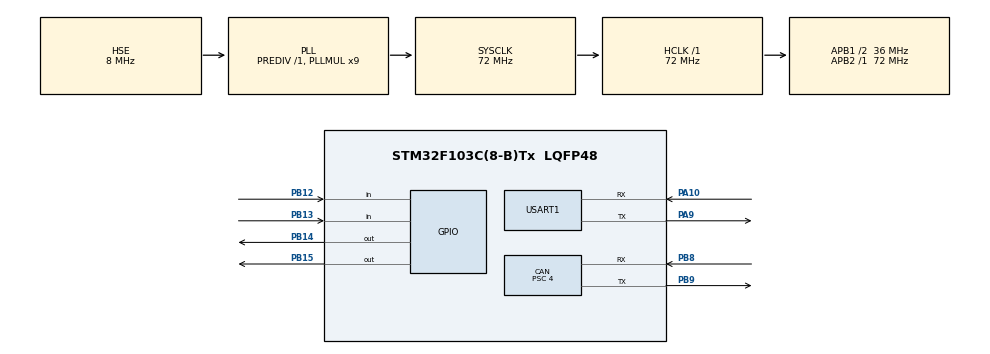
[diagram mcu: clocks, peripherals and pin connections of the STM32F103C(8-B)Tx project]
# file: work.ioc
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CAN.BS1=CAN_BS1_15TQ
CAN.BS2=CAN_BS2_2TQ
CAN.CalculateBaudRate=500000
CAN.CalculateTimeBit=2000
CAN.CalculateTimeQuantum=111.11111111111111
CAN.Prescaler=4
CAN.SJW=CAN_SJW_1TQ
Mcu.Family=STM32F1
Mcu.Name=STM32F103C(8-B)Tx
Mcu.Package=LQFP48
NVIC.PriorityGroup=NVIC_PRIORITYGROUP_4
NVIC.USART1_IRQn=true\:0\:0\:false\:false\:true\:true\:true\:true
NVIC.USB_LP_CAN1_RX0_IRQn=true\:0\:0\:false\:false\:true\:true\:true\:true
PA10.Mode=Asynchronous
PA10.Signal=USART1_RX
PA13.Mode=Serial_Wire
PA13.Signal=SYS_JTMS-SWDIO
PA14.Mode=Serial_Wire
PA14.Signal=SYS_JTCK-SWCLK
PA9.Mode=Asynchronous
PA9.Signal=USART1_TX
PB12.GPIO_PuPd=GPIO_PULLUP
PB12.Signal=GPIO_Input
PB13.Signal=GPIO_Input
PB14.Signal=GPIO_Output
PB15.Signal=GPIO_Output
PB8.Mode=CAN_Activate
PB8.Signal=CAN_RX
PB9.Mode=CAN_Activate
PB9.Signal=CAN_TX
PD0-OSC_IN.Mode=HSE-External-Oscillator
PD0-OSC_IN.Signal=RCC_OSC_IN
PD1-OSC_OUT.Mode=HSE-External-Oscillator
PD1-OSC_OUT.Signal=RCC_OSC_OUT
ProjectManager.HeapSize=0x200
ProjectManager.StackSize=0x400
ProjectManager.TargetToolchain=STM32CubeIDE
RCC.AHBFreq_Value=72000000
RCC.APB1CLKDivider=RCC_HCLK_DIV2
RCC.APB1Freq_Value=36000000
RCC.APB1TimFreq_Value=72000000
RCC.APB2Freq_Value=72000000
RCC.APB2TimFreq_Value=72000000
RCC.HCLKFreq_Value=72000000
RCC.PLLMUL=RCC_PLL_MUL9
RCC.PLLSourceVirtual=RCC_PLLSOURCE_HSE
RCC.SYSCLKFreq_VALUE=72000000
RCC.SYSCLKSource=RCC_SYSCLKSOURCE_PLLCLK
RCC.USBFreq_Value=72000000
USART1.VirtualMode=VM_ASYNC
board=custom

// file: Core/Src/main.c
/* USER CODE BEGIN Header */
/**
  ******************************************************************************
  * @file           : main.c
  * @brief          : Main program body
  ******************************************************************************
  * @attention
  *
  * Copyright (c) 2023 STMicroelectronics.
  * All rights reserved.
  *
  * This software is licensed under terms that can be found in the LICENSE file
  * in the root directory of this software component.
  * If no LICENSE file comes with this software, it is provided AS-IS.
  *
  ******************************************************************************
  */
/* USER CODE END Header */
#include "main.h"

/* USER CODE BEGIN Includes */
#include <stdio.h>
#include "lib.h"
#include "work.h"
/* USER CODE END Includes */

CAN_HandleTypeDef hcan;

UART_HandleTypeDef huart1;

void SystemClock_Config(void);
static void MX_GPIO_Init(void);
static void MX_CAN_Init(void);
static void MX_USART1_UART_Init(void);

/* USER CODE BEGIN 0 */
int __io_putchar(int ch)
{
	// printf()함수를 실행했을 때 UART로 출력
	HAL_UART_Transmit(&huart1, (uint8_t*)&ch, 1, 0xffff);
	return ch;
}
/* USER CODE END 0 */

int main(void)
{

  /* MCU Configuration--------------------------------------------------------*/

  /* Reset of all peripherals, Initializes the Flash interface and the Systick. */
  HAL_Init();

  /* Configure the system clock */
  SystemClock_Config();

  /* Initialize all configured peripherals */
  MX_GPIO_Init();
  MX_CAN_Init();
  MX_USART1_UART_Init();
  /* USER CODE BEGIN 2 */
  InitWork();
  printf("Start\r\n");

  /* USER CODE END 2 */

  /* Infinite loop */
  /* USER CODE BEGIN WHILE */
  while (1)
  {
	  DoWork();

    /* USER CODE END WHILE */

  }
}

void SystemClock_Config(void)
{
  RCC_OscInitTypeDef RCC_OscInitStruct = {0};
  RCC_ClkInitTypeDef RCC_ClkInitStruct = {0};

  /** Initializes the RCC Oscillators according to the specified parameters
  * in the RCC_OscInitTypeDef structure.
  */
  RCC_OscInitStruct.OscillatorType = RCC_OSCILLATORTYPE_HSE;
  RCC_OscInitStruct.HSEState = RCC_HSE_ON;
  RCC_OscInitStruct.HSEPredivValue = RCC_HSE_PREDIV_DIV1;
  RCC_OscInitStruct.HSIState = RCC_HSI_ON;
  RCC_OscInitStruct.PLL.PLLState = RCC_PLL_ON;
  RCC_OscInitStruct.PLL.PLLSource = RCC_PLLSOURCE_HSE;
  RCC_OscInitStruct.PLL.PLLMUL = RCC_PLL_MUL9;
  if (HAL_RCC_OscConfig(&RCC_OscInitStruct) != HAL_OK)
  {
    Error_Handler();
  }

  /** Initializes the CPU, AHB and APB buses clocks
  */
  RCC_ClkInitStruct.ClockType = RCC_CLOCKTYPE_HCLK|RCC_CLOCKTYPE_SYSCLK
                              |RCC_CLOCKTYPE_PCLK1|RCC_CLOCKTYPE_PCLK2;
  RCC_ClkInitStruct.SYSCLKSource = RCC_SYSCLKSOURCE_PLLCLK;
  RCC_ClkInitStruct.AHBCLKDivider = RCC_SYSCLK_DIV1;
  RCC_ClkInitStruct.APB1CLKDivider = RCC_HCLK_DIV2;
  RCC_ClkInitStruct.APB2CLKDivider = RCC_HCLK_DIV1;

  if (HAL_RCC_ClockConfig(&RCC_ClkInitStruct, FLASH_LATENCY_2) != HAL_OK)
  {
    Error_Handler();
  }
}

static void MX_CAN_Init(void)
{

  hcan.Instance = CAN1;
  hcan.Init.Prescaler = 4;
  hcan.Init.Mode = CAN_MODE_NORMAL;
  hcan.Init.SyncJumpWidth = CAN_SJW_1TQ;
  hcan.Init.TimeSeg1 = CAN_BS1_15TQ;
  hcan.Init.TimeSeg2 = CAN_BS2_2TQ;
  hcan.Init.TimeTriggeredMode = DISABLE;
  hcan.Init.AutoBusOff = DISABLE;
  hcan.Init.AutoWakeUp = DISABLE;
  hcan.Init.AutoRetransmission = DISABLE;
  hcan.Init.ReceiveFifoLocked = DISABLE;
  hcan.Init.TransmitFifoPriority = DISABLE;
  if (HAL_CAN_Init(&hcan) != HAL_OK)
  {
    Error_Handler();
  }

  /* USER CODE BEGIN CAN_Init 2 */
  CAN_FilterTypeDef  sFilterConfig;
  sFilterConfig.FilterBank = 0;
  sFilterConfig.FilterMode = CAN_FILTERMODE_IDMASK;
  sFilterConfig.FilterScale = CAN_FILTERSCALE_32BIT;
  sFilterConfig.FilterIdHigh = 0x0000;
  sFilterConfig.FilterIdLow = 0x0000;
  sFilterConfig.FilterMaskIdHigh = 0x0000;
  sFilterConfig.FilterMaskIdLow = 0x0000;
  sFilterConfig.FilterFIFOAssignment = CAN_RX_FIFO0;
  sFilterConfig.FilterActivation = ENABLE;
  sFilterConfig.SlaveStartFilterBank = 14;

  if (HAL_CAN_ConfigFilter(&hcan, &sFilterConfig) != HAL_OK)
  {
    /* Filter configuration Error */
    Error_Handler();
  }
  /* USER CODE END CAN_Init 2 */

}

static void MX_USART1_UART_Init(void)
{

  huart1.Instance = USART1;
  huart1.Init.BaudRate = 115200;
  huart1.Init.WordLength = UART_WORDLENGTH_8B;
  huart1.Init.StopBits = UART_STOPBITS_1;
  huart1.Init.Parity = UART_PARITY_NONE;
  huart1.Init.Mode = UART_MODE_TX_RX;
  huart1.Init.HwFlowCtl = UART_HWCONTROL_NONE;
  huart1.Init.OverSampling = UART_OVERSAMPLING_16;
  if (HAL_UART_Init(&huart1) != HAL_OK)
  {
    Error_Handler();
  }

}

static void MX_GPIO_Init(void)
{
  GPIO_InitTypeDef GPIO_InitStruct = {0};

  /* GPIO Ports Clock Enable */
  __HAL_RCC_GPIOD_CLK_ENABLE();
  __HAL_RCC_GPIOB_CLK_ENABLE();
  __HAL_RCC_GPIOA_CLK_ENABLE();

  /*Configure GPIO pin Output Level */
  HAL_GPIO_WritePin(GPIOB, GPIO_PIN_14|GPIO_PIN_15, GPIO_PIN_RESET);

  /*Configure GPIO pin : PB12 */
  GPIO_InitStruct.Pin = GPIO_PIN_12;
  GPIO_InitStruct.Mode = GPIO_MODE_INPUT;
  GPIO_InitStruct.Pull = GPIO_PULLUP;
  HAL_GPIO_Init(GPIOB, &GPIO_InitStruct);

  /*Configure GPIO pin : PB13 */
  GPIO_InitStruct.Pin = GPIO_PIN_13;
  GPIO_InitStruct.Mode = GPIO_MODE_INPUT;
  GPIO_InitStruct.Pull = GPIO_NOPULL;
  HAL_GPIO_Init(GPIOB, &GPIO_InitStruct);

  /*Configure GPIO pins : PB14 PB15 */
  GPIO_InitStruct.Pin = GPIO_PIN_14|GPIO_PIN_15;
  GPIO_InitStruct.Mode = GPIO_MODE_OUTPUT_PP;
  GPIO_InitStruct.Pull = GPIO_NOPULL;
  GPIO_InitStruct.Speed = GPIO_SPEED_FREQ_LOW;
  HAL_GPIO_Init(GPIOB, &GPIO_InitStruct);

}

void Error_Handler(void)
{
  __disable_irq();
  while (1)
  {
  }
}
